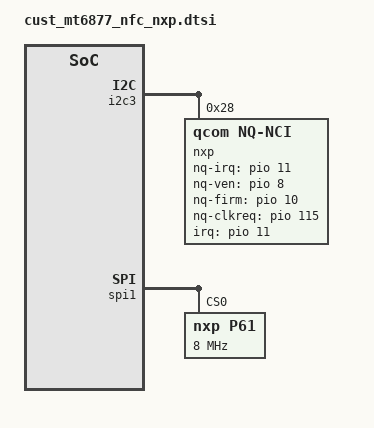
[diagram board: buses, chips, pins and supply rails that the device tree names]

//NFCC for Mediateckstart
&i2c3 {
    status = "okay";
    nxp@28 {
        compatible = "qcom,nq-nci";
        reg = <0x28>;
        qcom,nq-irq         = <&pio 11 0x00>;
        interrupt-parent    = <&pio>;
        interrupts          = <11 IRQ_TYPE_LEVEL_HIGH 11 0>;
        qcom,nq-ven         = <&pio 8 0x0>;
        qcom,nq-firm        = <&pio 10 0x0>;
        qcom,nq-clkreq      = <&pio 115 0x0>;
        interrupt-names = "nfc_irq";
        pinctrl-names   = "default", "nfc_active", "nfc_suspend";
        pinctrl-0 = <&nfc_default>;
        pinctrl-1 = <&nfc_int_active &nfc_enable_active
                    &nfc_clk_req_active &nfc_firmwaredownload_active>;
        pinctrl-2 = <&nfc_int_suspend &nfc_enable_suspend
                    &nfc_clk_req_suspend &nfc_firmwaredownload_suspend>;
    };
};
&pio {
    nfc_default: nfc_default {
    };
    nfc_int_active: nfc_int_active {
        pins_cmd_dat {
            pinmux = <PINMUX_GPIO11__FUNC_GPIO11>;
            slew-rate = <0>;
            drive-strength = <MTK_DRIVE_2mA>;
            bias-pull-up;
        };
    };
    nfc_int_suspend: nfc_int_suspend {
        pins_cmd_dat {
            pinmux = <PINMUX_GPIO11__FUNC_GPIO11>;
            slew-rate = <0>;
            drive-strength = <MTK_DRIVE_2mA>;
            bias-pull-up;
        };
    };
    nfc_enable_active: nfc_enable_active {
        pins_cmd_dat {
            pinmux = <PINMUX_GPIO8__FUNC_GPIO8>;
            slew-rate = <1>;
            output-high;
            drive-strength = <MTK_DRIVE_2mA>;
            bias-pull-up=<MTK_PUPD_SET_R1R0_11>;
        };
    };
    nfc_enable_suspend: nfc_enable_suspend {
        pins_cmd_dat {
            pinmux = <PINMUX_GPIO8__FUNC_GPIO8>;
            slew-rate = <1>;
            drive-strength = <MTK_DRIVE_2mA>;
            bias-disable;
        };
    };
    nfc_firmwaredownload_active: nfc_firmwaredownload_active {
        pins_cmd_dat {
            pinmux = <PINMUX_GPIO10__FUNC_GPIO10>;
            slew-rate = <1>;
            drive-strength = <MTK_DRIVE_2mA>;
            bias-pull-up;
        };
    };
    nfc_firmwaredownload_suspend: nfc_firmwaredownload_suspend {
        pins_cmd_dat {
            pinmux = <PINMUX_GPIO10__FUNC_GPIO10>;
            slew-rate = <1>;
            drive-strength = <MTK_DRIVE_2mA>;
            bias-disable;
        };
    };
    nfc_clk_req_active: nfc_clk_req_active {
        pins_cmd_dat {
            pinmux = <PINMUX_GPIO115__FUNC_SRCLKENAI0>;
            slew-rate = <0>;
            input-enable;
            drive-strength = <MTK_DRIVE_2mA>;
            bias-pull-up;
        };
    };
    nfc_clk_req_suspend: nfc_clk_req_suspend {
        pins_cmd_dat {
            pinmux = <PINMUX_GPIO115__FUNC_SRCLKENAI0>;
            slew-rate = <0>;
            input-enable;
            drive-strength = <MTK_DRIVE_2mA>;
            bias-pull-down;
        };
    };
};
//NFCC end 
/* eSE SPI configuration */
&spi1 {
    #address-cells = <1>;
    #size-cells = <0>;
    p61@31 {
        compatible = "nxp,p61";
        reg = <0>;
        spi-max-frequency = <8000000>;
        status = "okay";
        pinctrl-names = "nxp_ese_spi_mode";
        pinctrl-0 = <&nxp_ese_spi_mode>;
    };
};
&pio {
    nxp_ese_spi_mode: nxp_ese_spi_mode {
        pins_cmd_dat {
            pinmux = <PINMUX_GPIO184__FUNC_SPI1_MI>,
                    <PINMUX_GPIO185__FUNC_SPI1_MO>,
                    <PINMUX_GPIO182__FUNC_SPI1_CLK>,
                    <PINMUX_GPIO183__FUNC_SPI1_CSB>;
            drive-strength = <4>;
        };
    };
};
/* eSE SPI configuration -- end */

